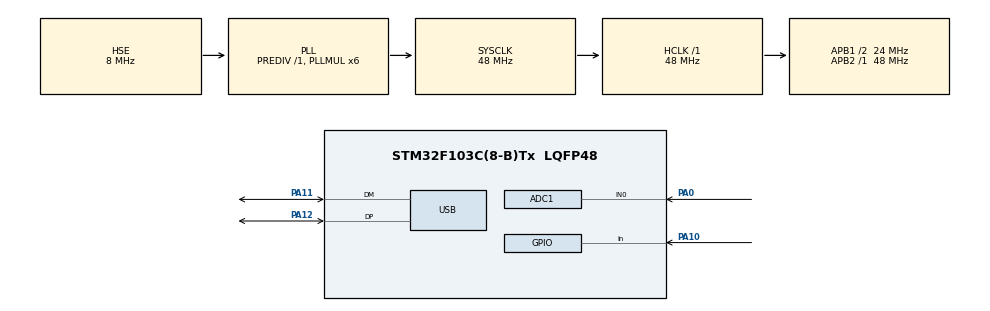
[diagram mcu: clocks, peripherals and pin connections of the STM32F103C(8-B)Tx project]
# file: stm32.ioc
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ADC1.Channel-3\#ChannelRegularConversion=ADC_CHANNEL_0
ADC1.NbrOfConversionFlag=1
ADC1.Rank-3\#ChannelRegularConversion=1
ADC1.SamplingTime-3\#ChannelRegularConversion=ADC_SAMPLETIME_1CYCLE_5
ADC1.master=1
Mcu.Family=STM32F1
Mcu.Name=STM32F103C(8-B)Tx
Mcu.Package=LQFP48
NVIC.PriorityGroup=NVIC_PRIORITYGROUP_4
NVIC.USB_LP_CAN1_RX0_IRQn=true\:0\:0\:false\:false\:true\:false\:true
PA0-WKUP.Signal=ADCx_IN0
PA10.GPIO_PuPd=GPIO_PULLUP
PA10.Signal=GPIO_Input
PA11.Mode=Device
PA11.Signal=USB_DM
PA12.Mode=Device
PA12.Signal=USB_DP
PA13.Mode=Serial_Wire
PA13.Signal=SYS_JTMS-SWDIO
PA14.Mode=Serial_Wire
PA14.Signal=SYS_JTCK-SWCLK
PD0-OSC_IN.Mode=HSE-External-Oscillator
PD0-OSC_IN.Signal=RCC_OSC_IN
PD1-OSC_OUT.Mode=HSE-External-Oscillator
PD1-OSC_OUT.Signal=RCC_OSC_OUT
ProjectManager.HeapSize=0x200
ProjectManager.StackSize=0x400
ProjectManager.TargetToolchain=STM32CubeIDE
RCC.ADCPresc=RCC_ADCPCLK2_DIV4
RCC.AHBFreq_Value=48000000
RCC.APB1CLKDivider=RCC_HCLK_DIV2
RCC.APB1Freq_Value=24000000
RCC.APB1TimFreq_Value=48000000
RCC.APB2Freq_Value=48000000
RCC.APB2TimFreq_Value=48000000
RCC.HCLKFreq_Value=48000000
RCC.PLLMUL=RCC_PLL_MUL6
RCC.SYSCLKFreq_VALUE=48000000
RCC.SYSCLKSource=RCC_SYSCLKSOURCE_PLLCLK
RCC.USBFreq_Value=48000000
SH.ADCx_IN0.0=ADC1_IN0,IN0
USB_DEVICE.CLASS_NAME_FS=CDC
USB_DEVICE.VirtualMode=Cdc
USB_DEVICE.VirtualModeFS=Cdc_FS
VP_USB_DEVICE_VS_USB_DEVICE_CDC_FS.Mode=CDC_FS
board=custom

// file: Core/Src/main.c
/* USER CODE BEGIN Header */
/**
  ******************************************************************************
  * @file           : main.c
  * @brief          : Main program body
  ******************************************************************************
  */
/* USER CODE END Header */

#include "main.h"
#include "usb_device.h"

/* USER CODE BEGIN Includes */
#include "usbd_cdc_if.h"
/* USER CODE END Includes */

/* USER CODE BEGIN PD */

#define ADC_CANAL_POTENCIOMETRO hadc1

#define FILTRO_GPIO_PORT        GPIOA
#define FILTRO_GPIO_PIN         GPIO_PIN_10

#define ADC_RESOLUCAO_MAX       4095.0f
#define LUX_ESCALA_MAX          1000.0f

#define TAMANHO_FILTRO_MEDIA    5
#define DELAY_AMOSTRAGEM_MS     500

/* Protocolo serial */
#define INICIO_PACOTE           0xAA
#define FIM_PACOTE              0x55
#define TAMANHO_PACOTE          5

/* USER CODE END PD */

ADC_HandleTypeDef hadc1;

void SystemClock_Config(void);
static void MX_GPIO_Init(void);
static void MX_ADC1_Init(void);

/* USER CODE BEGIN PFP */
float AplicarFiltroLuminosidade(float nova_leitura);
void EnviarLuminosidade(float luminosidade, uint8_t filtro_ativo);
/* USER CODE END PFP */

int main(void)
{
  HAL_Init();

  SystemClock_Config();

  MX_GPIO_Init();
  MX_ADC1_Init();
  MX_USB_DEVICE_Init();

  /* USER CODE BEGIN WHILE */
  while (1)
  {
      HAL_ADC_Start(&ADC_CANAL_POTENCIOMETRO);

      if (HAL_ADC_PollForConversion(
              &ADC_CANAL_POTENCIOMETRO,
              10) == HAL_OK)
      {
          uint16_t adc_bruto =
              HAL_ADC_GetValue(&ADC_CANAL_POTENCIOMETRO);

          float lux_bruto =
              ((float)adc_bruto / ADC_RESOLUCAO_MAX)
              * LUX_ESCALA_MAX;

          float lux_final = lux_bruto;

          uint8_t filtro_ativo = 0;

          if (HAL_GPIO_ReadPin(
                  FILTRO_GPIO_PORT,
                  FILTRO_GPIO_PIN) == GPIO_PIN_SET)
          {
              filtro_ativo = 1;

              lux_final =
                  AplicarFiltroLuminosidade(lux_bruto);
          }

          /*
           * Envia pacote binário:
           *
           * [0] 0xAA
           * [1] byte alto da luminosidade
           * [2] byte baixo da luminosidade
           * [3] estado do filtro
           * [4] 0x55
           */
          EnviarLuminosidade(
              lux_final,
              filtro_ativo
          );
      }

      HAL_ADC_Stop(&ADC_CANAL_POTENCIOMETRO);

      HAL_Delay(DELAY_AMOSTRAGEM_MS);

    /* USER CODE END WHILE */

  }
}

void SystemClock_Config(void)
{
  RCC_OscInitTypeDef RCC_OscInitStruct = {0};
  RCC_ClkInitTypeDef RCC_ClkInitStruct = {0};
  RCC_PeriphCLKInitTypeDef PeriphClkInit = {0};

  RCC_OscInitStruct.OscillatorType =
      RCC_OSCILLATORTYPE_HSE;

  RCC_OscInitStruct.HSEState =
      RCC_HSE_ON;

  RCC_OscInitStruct.HSEPredivValue =
      RCC_HSE_PREDIV_DIV1;

  RCC_OscInitStruct.HSIState =
      RCC_HSI_ON;

  RCC_OscInitStruct.PLL.PLLState =
      RCC_PLL_ON;

  RCC_OscInitStruct.PLL.PLLSource =
      RCC_PLLSOURCE_HSE;

  RCC_OscInitStruct.PLL.PLLMUL =
      RCC_PLL_MUL6;

  if (HAL_RCC_OscConfig(&RCC_OscInitStruct) != HAL_OK)
  {
      Error_Handler();
  }

  RCC_ClkInitStruct.ClockType =
      RCC_CLOCKTYPE_HCLK |
      RCC_CLOCKTYPE_SYSCLK |
      RCC_CLOCKTYPE_PCLK1 |
      RCC_CLOCKTYPE_PCLK2;

  RCC_ClkInitStruct.SYSCLKSource =
      RCC_SYSCLKSOURCE_PLLCLK;

  RCC_ClkInitStruct.AHBCLKDivider =
      RCC_SYSCLK_DIV1;

  RCC_ClkInitStruct.APB1CLKDivider =
      RCC_HCLK_DIV2;

  RCC_ClkInitStruct.APB2CLKDivider =
      RCC_HCLK_DIV1;

  if (HAL_RCC_ClockConfig(
          &RCC_ClkInitStruct,
          FLASH_LATENCY_1) != HAL_OK)
  {
      Error_Handler();
  }

  PeriphClkInit.PeriphClockSelection =
      RCC_PERIPHCLK_ADC |
      RCC_PERIPHCLK_USB;

  PeriphClkInit.AdcClockSelection =
      RCC_ADCPCLK2_DIV4;

  PeriphClkInit.UsbClockSelection =
      RCC_USBCLKSOURCE_PLL;

  if (HAL_RCCEx_PeriphCLKConfig(
          &PeriphClkInit) != HAL_OK)
  {
      Error_Handler();
  }
}

static void MX_ADC1_Init(void)
{
  ADC_ChannelConfTypeDef sConfig = {0};

  hadc1.Instance = ADC1;

  hadc1.Init.ScanConvMode =
      ADC_SCAN_DISABLE;

  hadc1.Init.ContinuousConvMode =
      DISABLE;

  hadc1.Init.DiscontinuousConvMode =
      DISABLE;

  hadc1.Init.ExternalTrigConv =
      ADC_SOFTWARE_START;

  hadc1.Init.DataAlign =
      ADC_DATAALIGN_RIGHT;

  hadc1.Init.NbrOfConversion = 1;

  if (HAL_ADC_Init(&hadc1) != HAL_OK)
  {
      Error_Handler();
  }

  sConfig.Channel =
      ADC_CHANNEL_0;

  sConfig.Rank =
      ADC_REGULAR_RANK_1;

  sConfig.SamplingTime =
      ADC_SAMPLETIME_1CYCLE_5;

  if (HAL_ADC_ConfigChannel(
          &hadc1,
          &sConfig) != HAL_OK)
  {
      Error_Handler();
  }
}

static void MX_GPIO_Init(void)
{
  GPIO_InitTypeDef GPIO_InitStruct = {0};

  __HAL_RCC_GPIOD_CLK_ENABLE();
  __HAL_RCC_GPIOA_CLK_ENABLE();

  GPIO_InitStruct.Pin =
      GPIO_PIN_10;

  GPIO_InitStruct.Mode =
      GPIO_MODE_INPUT;

  GPIO_InitStruct.Pull =
      GPIO_PULLDOWN;

  HAL_GPIO_Init(
      GPIOA,
      &GPIO_InitStruct
  );
}

/* USER CODE BEGIN 4 */

float AplicarFiltroLuminosidade(float nova_leitura)
{
    static float historico[TAMANHO_FILTRO_MEDIA] =
        {0.0f};

    static uint8_t indice = 0;

    float soma = 0.0f;

    historico[indice] =
        nova_leitura;

    indice =
        (indice + 1)
        % TAMANHO_FILTRO_MEDIA;

    for (uint8_t i = 0;
         i < TAMANHO_FILTRO_MEDIA;
         i++)
    {
        soma += historico[i];
    }

    return soma /
        (float)TAMANHO_FILTRO_MEDIA;
}

void EnviarLuminosidade(
    float luminosidade,
    uint8_t filtro_ativo)
{
    /*
     * Multiplica por 10 para preservar
     * uma casa decimal.
     *
     * 523.4 lux -> 5234
     */
    uint16_t valor =
        (uint16_t)(luminosidade * 10.0f);

    uint8_t pacote[TAMANHO_PACOTE];

    pacote[0] = INICIO_PACOTE;

    /*
     * Byte mais significativo.
     */
    pacote[1] =
        (uint8_t)((valor >> 8) & 0xFF);

    /*
     * Byte menos significativo.
     */
    pacote[2] =
        (uint8_t)(valor & 0xFF);

    /*
     * 0x00 = filtro desligado
     * 0x01 = filtro ligado
     */
    pacote[3] =
        filtro_ativo ? 0x01 : 0x00;

    pacote[4] =
        FIM_PACOTE;

    CDC_Transmit_FS(
        pacote,
        TAMANHO_PACOTE
    );
}

/* USER CODE END 4 */

void Error_Handler(void)
{
  __disable_irq();

  while (1)
  {
  }
}
